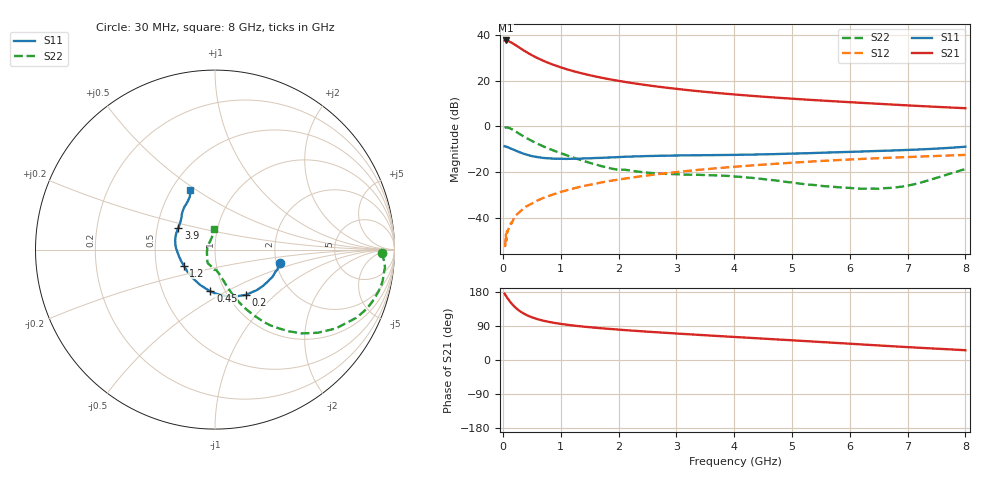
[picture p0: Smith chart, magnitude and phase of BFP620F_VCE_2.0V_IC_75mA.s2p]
! Infineon Technologies  Discrete & RF Semiconductors
! BFP620F
! VCE =  2.0 V,  IC =  75 mA
! Common Emitter S-Parameters:  Dec 2014
# GHz  S  MA  R  50
!  f  S11  S21  S12  S22
! GHz  MAG  ANG  MAG  ANG  MAG  ANG  MAG  ANG
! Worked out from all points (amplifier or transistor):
!   95 points, 30 MHz to 8 GHz, reference 50 ohm
!   highest |S21| = 37.6 dB at 50 MHz (marker M1)
!   |S21| within 3 dB of that: start of sweep to 277.4 MHz
!   unconditionally stable (mu >= 1): 1.601 GHz to end of sweep
!   at 300 MHz: K = 0.57, MSG = 35.7 dB, |S12| = -37.2 dB
!   at 3.3 GHz: K = 1.04, MAG = 16.2 dB, |S12| = -19.2 dB
!   at 8 GHz: K = 1.05, MAG = 8.8 dB, |S12| = -12.5 dB
!   S11 on the Smith chart (normalised r, x): 30 MHz: 2.08, -0.36; 200 MHz: 1.21, -0.67; 450 MHz: 0.85, -0.42; 1.2 GHz: 0.69, -0.13; 3.9 GHz: 0.64, +0.17; 8 GHz: 0.62, +0.47
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0.03  0.3676 -11.8  75.77 175.0  0.0025 109.4  0.9288 -1.0
0.05  0.3659 -17.6  76.04 170.2  0.0043 84.0  0.9524 -5.9
0.08  0.3539 -25.8  74.83 163.2  0.0048 93.6  0.9469 -12.6
0.12  0.3356 -37.0  71.07 154.7  0.0066 79.6  0.9116 -20.5
0.15  0.3235 -44.5  68.05 149.1  0.0075 77.9  0.8735 -25.8
0.2  0.3049 -55.8  62.24 140.9  0.0104 79.0  0.8044 -33.1
0.25  0.2858 -65.7  56.72 134.0  0.0121 75.6  0.7361 -39.0
0.3  0.2694 -74.5  51.56 128.3  0.0138 74.9  0.6724 -44.0
0.35  0.2554 -82.8  46.91 123.5  0.0157 73.7  0.6147 -47.8
0.45  0.2342 -96.3  39.4 115.8  0.019 73.4  0.5218 -53.9
0.6  0.2133 -113.3  31.25 107.8  0.024 73.1  0.4176 -59.9
0.7  0.2044 -122.1  27.34 103.7  0.0273 72.7  0.3661 -62.9
0.9  0.1964 -136.8  21.69 97.7  0.0335 72.8  0.2893 -67.4
1.2  0.1964 -153.1  16.47 91.3  0.0432 72.2  0.2129 -72.2
1.4  0.1996 -161.4  14.16 88.0  0.0499 71.2  0.1759 -75.1
2  0.2133 -179.4  9.937 80.2  0.0687 68.6  0.1121 -88.0
2.7  0.2279 166.8  7.377 72.8  0.0909 64.4  0.0933 -105.0
3.9  0.238 149.2  5.138 61.7  0.1278 56.8  0.0825 -120.2
4.1  0.2399 146.8  4.893 59.9  0.1339 55.6  0.0789 -122.3
5.4  0.2628 135.1  3.76 48.4  0.1726 46.6  0.0521 -149.4
6.7  0.2964 123.9  3.028 36.6  0.2065 37.1  0.0452 146.8
8  0.3598 112.3  2.506 25.8  0.2382 27.9  0.1169 91.4
